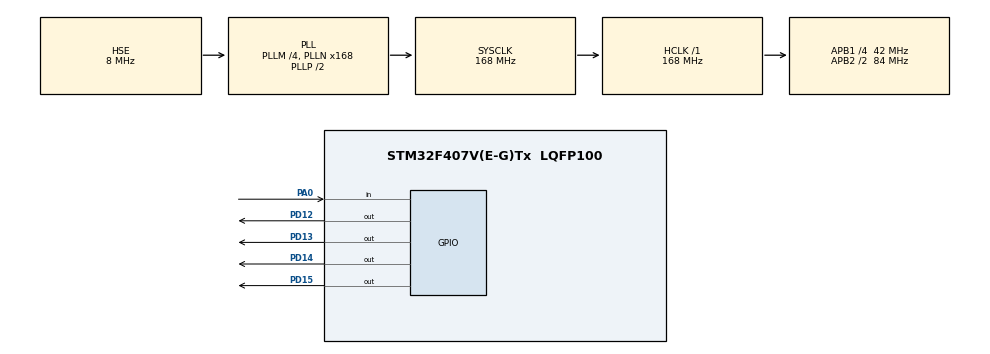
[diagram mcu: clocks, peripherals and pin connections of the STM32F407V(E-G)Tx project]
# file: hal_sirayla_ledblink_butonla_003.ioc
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Mcu.Family=STM32F4
Mcu.Name=STM32F407V(E-G)Tx
Mcu.Package=LQFP100
NVIC.PriorityGroup=NVIC_PRIORITYGROUP_4
PA0-WKUP.GPIO_PuPd=GPIO_PULLDOWN
PA0-WKUP.Signal=GPIO_Input
PA13.Mode=Serial_Wire
PA13.Signal=SYS_JTMS-SWDIO
PA14.Mode=Serial_Wire
PA14.Signal=SYS_JTCK-SWCLK
PD12.GPIO_Speed=GPIO_SPEED_FREQ_VERY_HIGH
PD12.Signal=GPIO_Output
PD13.GPIO_Speed=GPIO_SPEED_FREQ_VERY_HIGH
PD13.Signal=GPIO_Output
PD14.GPIO_Speed=GPIO_SPEED_FREQ_VERY_HIGH
PD14.Signal=GPIO_Output
PD15.GPIO_Speed=GPIO_SPEED_FREQ_VERY_HIGH
PD15.Signal=GPIO_Output
PH0-OSC_IN.Mode=HSE-External-Oscillator
PH0-OSC_IN.Signal=RCC_OSC_IN
PH1-OSC_OUT.Mode=HSE-External-Oscillator
PH1-OSC_OUT.Signal=RCC_OSC_OUT
ProjectManager.HeapSize=0x200
ProjectManager.StackSize=0x400
ProjectManager.TargetToolchain=TrueSTUDIO
RCC.48MHZClocksFreq_Value=84000000
RCC.AHBFreq_Value=168000000
RCC.APB1CLKDivider=RCC_HCLK_DIV4
RCC.APB1Freq_Value=42000000
RCC.APB1TimFreq_Value=84000000
RCC.APB2CLKDivider=RCC_HCLK_DIV2
RCC.APB2Freq_Value=84000000
RCC.APB2TimFreq_Value=168000000
RCC.CortexFreq_Value=168000000
RCC.HCLKFreq_Value=168000000
RCC.HSE_VALUE=8000000
RCC.HSI_VALUE=16000000
RCC.LSE_VALUE=32768
RCC.PLLM=4
RCC.PLLN=168
RCC.PLLSourceVirtual=RCC_PLLSOURCE_HSE
RCC.SYSCLKFreq_VALUE=168000000
RCC.SYSCLKSource=RCC_SYSCLKSOURCE_PLLCLK
RCC.VCOOutputFreq_Value=336000000
board=custom

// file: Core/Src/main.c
#include "main.h"

void SystemClock_Config(void);
static void MX_GPIO_Init(void);

int count=0;
int main(void)
{

  /* MCU Configuration--------------------------------------------------------*/

  /* Reset of all peripherals, Initializes the Flash interface and the Systick. */
  HAL_Init();

  /* Configure the system clock */
  SystemClock_Config();

  /* Initialize all configured peripherals */
  MX_GPIO_Init();

  /* Infinite loop */
  while (1)
  {

    /* USER CODE BEGIN 3 */
	  if(HAL_GPIO_ReadPin(GPIOA,GPIO_PIN_0)){
		  while(HAL_GPIO_ReadPin(GPIOA,GPIO_PIN_0));

		  HAL_Delay(100);
		  count++;
	  }

	  switch(count){
	  case 1:
		  HAL_GPIO_WritePin(GPIOD,GPIO_PIN_12,GPIO_PIN_SET);
		  break;
	  case 2:
		  HAL_GPIO_WritePin(GPIOD,GPIO_PIN_13,GPIO_PIN_SET);
          break;
	  case 3:
		  HAL_GPIO_WritePin(GPIOD,GPIO_PIN_14,GPIO_PIN_SET);
		  break;
	  case 4:
		  HAL_GPIO_WritePin(GPIOD,GPIO_PIN_15,GPIO_PIN_SET);
		  break;
	  }

	  if(count == 5){
		 HAL_GPIO_WritePin(GPIOD,GPIO_PIN_12 | GPIO_PIN_13 | GPIO_PIN_14 | GPIO_PIN_15,GPIO_PIN_RESET);
		 HAL_Delay(100);
		 count=0;
	  }

  }
  /* USER CODE END 3 */
}

void SystemClock_Config(void)
{
  RCC_OscInitTypeDef RCC_OscInitStruct = {0};
  RCC_ClkInitTypeDef RCC_ClkInitStruct = {0};

  /** Configure the main internal regulator output voltage
  */
  __HAL_RCC_PWR_CLK_ENABLE();
  __HAL_PWR_VOLTAGESCALING_CONFIG(PWR_REGULATOR_VOLTAGE_SCALE1);
  /** Initializes the RCC Oscillators according to the specified parameters
  * in the RCC_OscInitTypeDef structure.
  */
  RCC_OscInitStruct.OscillatorType = RCC_OSCILLATORTYPE_HSE;
  RCC_OscInitStruct.HSEState = RCC_HSE_ON;
  RCC_OscInitStruct.PLL.PLLState = RCC_PLL_ON;
  RCC_OscInitStruct.PLL.PLLSource = RCC_PLLSOURCE_HSE;
  RCC_OscInitStruct.PLL.PLLM = 4;
  RCC_OscInitStruct.PLL.PLLN = 168;
  RCC_OscInitStruct.PLL.PLLP = RCC_PLLP_DIV2;
  RCC_OscInitStruct.PLL.PLLQ = 4;
  if (HAL_RCC_OscConfig(&RCC_OscInitStruct) != HAL_OK)
  {
    Error_Handler();
  }
  /** Initializes the CPU, AHB and APB buses clocks
  */
  RCC_ClkInitStruct.ClockType = RCC_CLOCKTYPE_HCLK|RCC_CLOCKTYPE_SYSCLK
                              |RCC_CLOCKTYPE_PCLK1|RCC_CLOCKTYPE_PCLK2;
  RCC_ClkInitStruct.SYSCLKSource = RCC_SYSCLKSOURCE_PLLCLK;
  RCC_ClkInitStruct.AHBCLKDivider = RCC_SYSCLK_DIV1;
  RCC_ClkInitStruct.APB1CLKDivider = RCC_HCLK_DIV4;
  RCC_ClkInitStruct.APB2CLKDivider = RCC_HCLK_DIV2;

  if (HAL_RCC_ClockConfig(&RCC_ClkInitStruct, FLASH_LATENCY_5) != HAL_OK)
  {
    Error_Handler();
  }
}

static void MX_GPIO_Init(void)
{
  GPIO_InitTypeDef GPIO_InitStruct = {0};

  /* GPIO Ports Clock Enable */
  __HAL_RCC_GPIOH_CLK_ENABLE();
  __HAL_RCC_GPIOA_CLK_ENABLE();
  __HAL_RCC_GPIOD_CLK_ENABLE();

  /*Configure GPIO pin Output Level */
  HAL_GPIO_WritePin(GPIOD, GPIO_PIN_12|GPIO_PIN_13|GPIO_PIN_14|GPIO_PIN_15, GPIO_PIN_RESET);

  /*Configure GPIO pin : PA0 */
  GPIO_InitStruct.Pin = GPIO_PIN_0;
  GPIO_InitStruct.Mode = GPIO_MODE_INPUT;
  GPIO_InitStruct.Pull = GPIO_PULLDOWN;
  HAL_GPIO_Init(GPIOA, &GPIO_InitStruct);

  /*Configure GPIO pins : PD12 PD13 PD14 PD15 */
  GPIO_InitStruct.Pin = GPIO_PIN_12|GPIO_PIN_13|GPIO_PIN_14|GPIO_PIN_15;
  GPIO_InitStruct.Mode = GPIO_MODE_OUTPUT_PP;
  GPIO_InitStruct.Pull = GPIO_NOPULL;
  GPIO_InitStruct.Speed = GPIO_SPEED_FREQ_VERY_HIGH;
  HAL_GPIO_Init(GPIOD, &GPIO_InitStruct);

}

void Error_Handler(void)
{
  __disable_irq();
  while (1)
  {
  }
}

/************************ (C) COPYRIGHT STMicroelectronics *****END OF FILE****/
